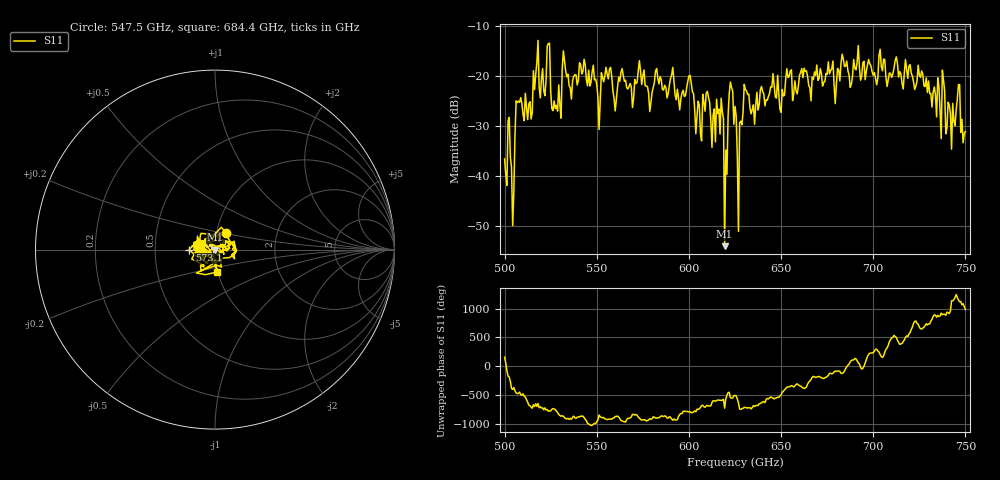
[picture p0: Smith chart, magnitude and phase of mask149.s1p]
!Created with skrf (http://scikit-rf.org).
# GHz S MA R 50.0
!freq magS11 angS11
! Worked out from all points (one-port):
!   401 points, 500 GHz to 750 GHz, reference 50 ohm
!   lowest |S11| = -54.0 dB at 619.4 GHz (marker M1), VSWR 1.00, Z = 50.2 - j0.0306 ohm
!   |S11| at or under -10 dB: start of sweep to end of sweep
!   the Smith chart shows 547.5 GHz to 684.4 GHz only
!   S11 on the Smith chart (normalised r, x): 547.5 GHz: 1.12, +0.21; 573.1 GHz: 0.75, -0.00; 684.4 GHz: 0.99, -0.25
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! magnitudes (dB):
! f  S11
! 500 GHz  -36.5
! 502.5 GHz  -28.2
! 504.4 GHz  -49.9
! 507.5 GHz  -24.9
! 513.8 GHz  -25.1
! 516.9 GHz  -19.6
! 520.6 GHz  -18.4
! 523.8 GHz  -13.4
! 526.9 GHz  -24.9
! 531.2 GHz  -18.5
! 547.5 GHz  -19.1
! 562.5 GHz  -21.0
! 573.1 GHz  -16.8
! 593.8 GHz  -22.6
! 616.2 GHz  -26.6
! 619.4 GHz  -54.0
! 622.5 GHz  -21.1
! 625 GHz  -26.0
! 627.5 GHz  -29.3
! 631.2 GHz  -22.9
! 634.4 GHz  -26.7
! 656.2 GHz  -24.9
! 684.4 GHz  -18.0
! 687.5 GHz  -22.2
! 718.8 GHz  -20.4
! 743.1 GHz  -25.4
! 746.2 GHz  -21.6
! 750 GHz  -31.0
